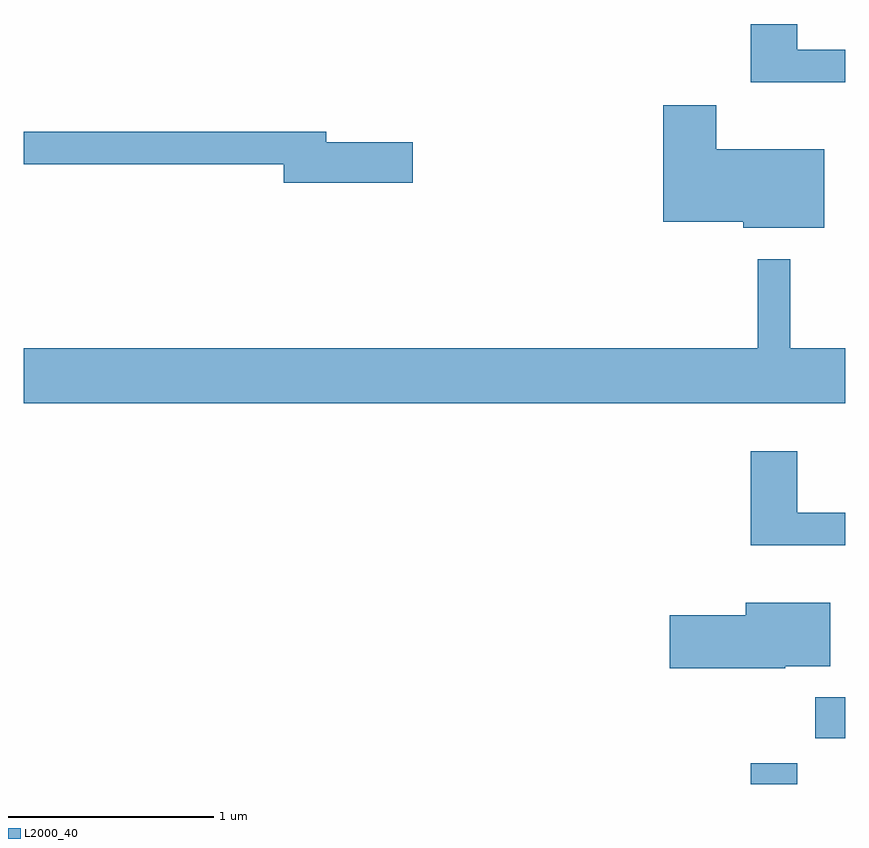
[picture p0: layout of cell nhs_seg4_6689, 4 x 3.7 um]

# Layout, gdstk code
import gdstk
lib = gdstk.Library(unit=1e-6, precision=1e-09)
def R(c, l, rs):  # rectangles x0, y0, x1, y1
    for r in rs: c.add(gdstk.rectangle(r[:2], r[2:], *l))
def P(c, l, *ps):  # polygons
    for p in ps: c.add(gdstk.Polygon(p, *l))
L2000_40 = (2000, 40)

nhs_seg4_6689 = lib.new_cell('nhs_seg4_6689')
R(nhs_seg4_6689, L2000_40, [(385.151,1303.982,385.379,1304.084), (385.466,1304.206,385.611,1304.404)])
P(nhs_seg4_6689, L2000_40, [(385.611,1307.559),(385.379,1307.559),(385.379,1307.684),(385.151,1307.684),(385.151,1307.401),(385.611,1307.401)],
  [(385.509,1307.074),(384.984,1307.074),(384.984,1307.289),(384.726,1307.289),(384.726,1306.721),(385.116,1306.721),(385.116,1306.691),(385.509,1306.691)],
  [(383.504,1307.109),(383.084,1307.109),(383.084,1307.159),(381.611,1307.159),(381.611,1307.001),(382.876,1307.001),(382.876,1306.911),(383.504,1306.911)],
  [(385.611,1306.104),(385.344,1306.104),(385.344,1306.538),(385.186,1306.538),(385.186,1306.104),(381.611,1306.104),(381.611,1305.836),(385.611,1305.836)],
  [(385.611,1305.304),(385.379,1305.304),(385.379,1305.604),(385.151,1305.604),(385.151,1305.146),(385.611,1305.146)],
  [(385.32,1304.556),(385.539,1304.556),(385.539,1304.864),(385.126,1304.864),(385.126,1304.804),(384.756,1304.804),(384.756,1304.546),(385.32,1304.546)])

lib.write_gds('nhs_seg4_6689.gds')
